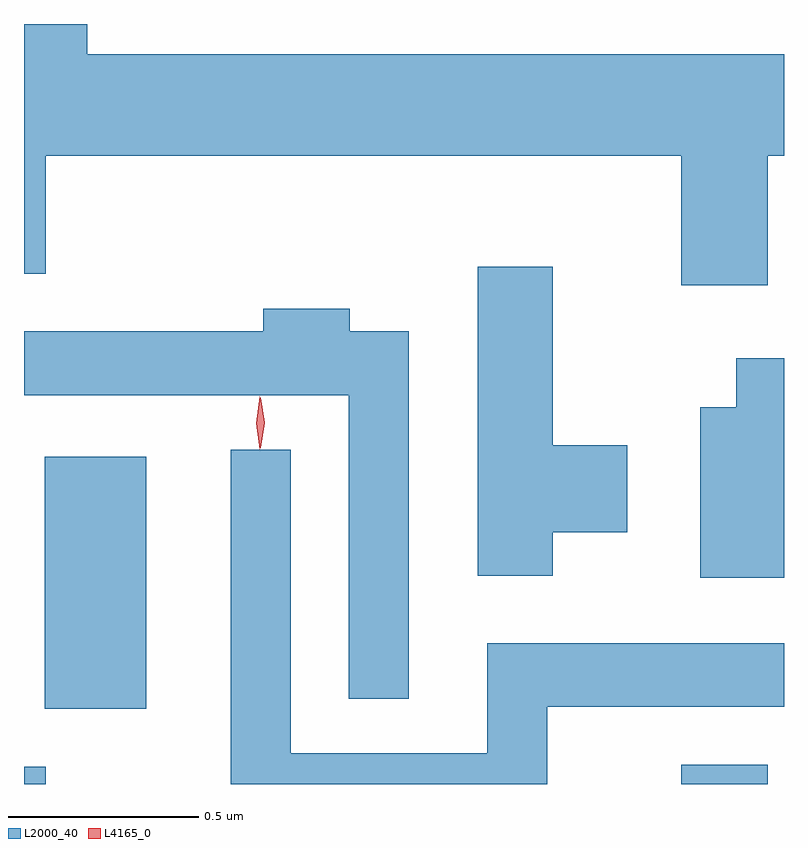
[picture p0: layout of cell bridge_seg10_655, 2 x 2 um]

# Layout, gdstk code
import gdstk
lib = gdstk.Library(unit=1e-6, precision=1e-09)
def R(c, l, rs):  # rectangles x0, y0, x1, y1
    for r in rs: c.add(gdstk.rectangle(r[:2], r[2:], *l))
def P(c, l, *ps):  # polygons
    for p in ps: c.add(gdstk.Polygon(p, *l))
L2000_40 = (2000, 40)
L4165_0 = (4165, 0)

bridge_seg10_655 = lib.new_cell('bridge_seg10_655')
R(bridge_seg10_655, L2000_40, [(839.402,2145.563,839.459,2145.609), (841.131,2145.563,841.359,2145.614), (839.456,2145.761,839.724,2146.424)])
P(bridge_seg10_655, L2000_40, [(841.359,2147.216),(841.402,2147.216),(841.402,2147.484),(839.569,2147.484),(839.569,2147.563),(839.402,2147.563),(839.402,2146.906),(839.459,2146.906),(839.459,2147.216),(841.131,2147.216),(841.131,2146.876),(841.359,2146.876)],
  [(840.794,2146.226),(840.989,2146.226),(840.989,2146.454),(840.794,2146.454),(840.794,2146.924),(840.596,2146.924),(840.596,2146.111),(840.794,2146.111)],
  [(840.414,2146.754),(840.259,2146.754),(840.259,2146.814),(840.031,2146.814),(840.031,2146.754),(839.402,2146.754),(839.402,2146.586),(840.256,2146.586),(840.256,2145.788),(840.414,2145.788)],
  [(841.402,2146.684),(841.276,2146.684),(841.276,2146.554),(841.181,2146.554),(841.181,2146.106),(841.402,2146.106)],
  [(840.779,2145.766),(841.402,2145.766),(841.402,2145.934),(840.621,2145.934),(840.621,2145.644),(840.104,2145.644),(840.104,2146.443),(839.946,2146.443),(839.946,2145.563),(840.779,2145.563)])
P(bridge_seg10_655, L4165_0, [(840.023,2146.443),(840.022,2146.444),(840.013,2146.513),(840.022,2146.582),(840.023,2146.583),(840.023,2146.582),(840.033,2146.513),(840.023,2146.444)],
  [(840.025,2146.447),(840.024,2146.448),(840.015,2146.514),(840.024,2146.58),(840.025,2146.58),(840.025,2146.58),(840.035,2146.514),(840.025,2146.448)])

lib.write_gds('bridge_seg10_655.gds')
